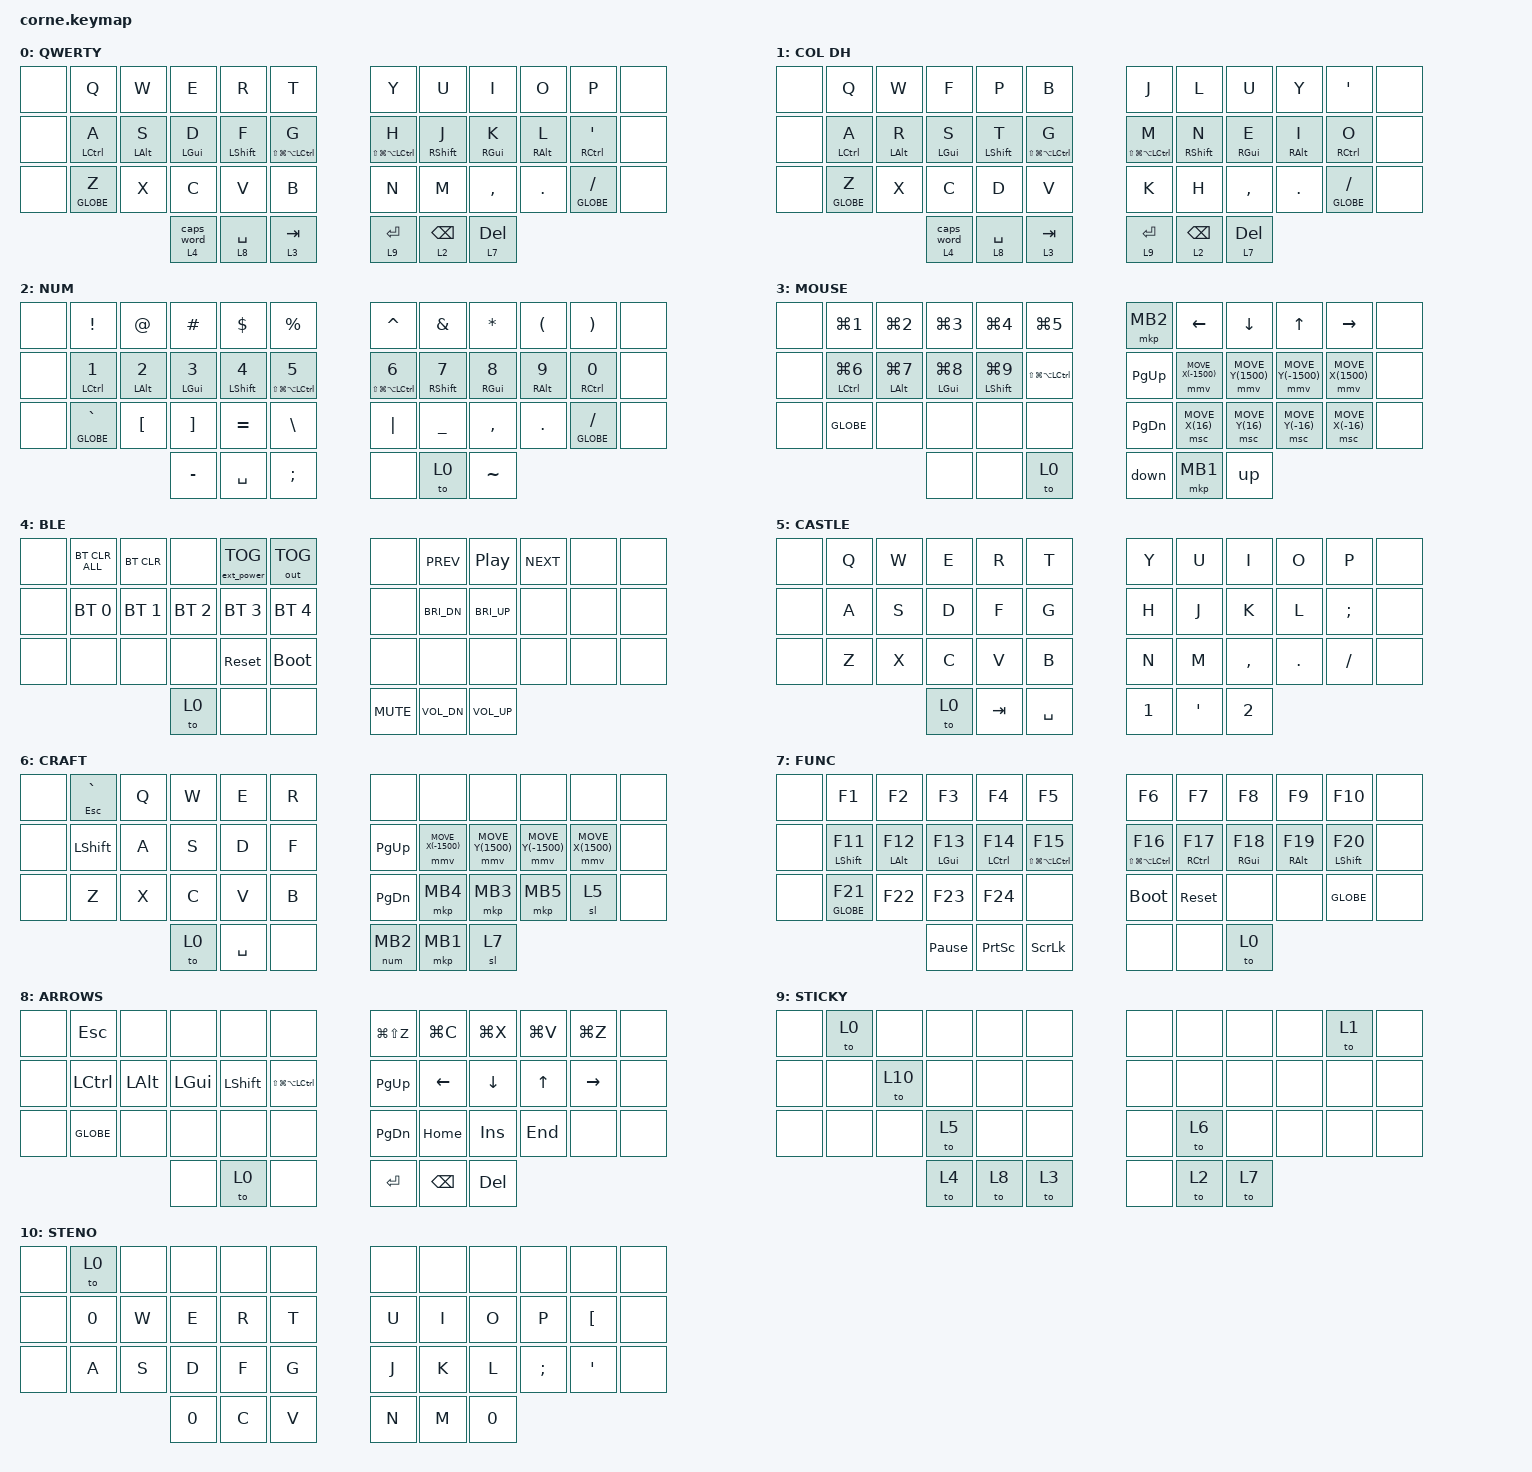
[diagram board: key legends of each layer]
//sudo west build -p -d build/left -b nice_nano_v2 -- -DSHIELD="corne_left nice_view_adapter nice_view" -DZMK_CONFIG=/Users/ameer/keyboard/zmk-config/config
//sudo west build -p -d build/right -b nice_nano_v2 -- -DSHIELD="corne_right nice_view_adapter nice_view" -DZMK_CONFIG=/Users/ameer/keyboard/zmk-config/config

#include <behaviors.dtsi>
#include <dt-bindings/zmk/keys.h>
#include <dt-bindings/zmk/mouse.h>
#include <behaviors/mouse_keys.dtsi>
#include <zephyr/dt-bindings/input/input-event-codes.h>
#include <dt-bindings/zmk/outputs.h>
#include <dt-bindings/zmk/bt.h>
#include <dt-bindings/zmk/ext_power.h>

&caps_word {
    continue-list = <UNDERSCORE MINUS BSPC DOT COMMA>;
};
&sl {
    release-after-ms = <1000>;
};
/ {
behaviors {    
        msc: mouse_scroll {
            compatible = "zmk,behavior-input-two-axis";
            #binding-cells = <1>;
            x-input-code = <INPUT_REL_HWHEEL>;
            y-input-code = <INPUT_REL_WHEEL>;
            time-to-max-speed-ms = <300>;
            acceleration-exponent = <0>;
        };
        msc_input_listener {
            compatible = "zmk,input-listener";
            device = <&msc>;
         };
        mmv: mouse_move {
            compatible = "zmk,behavior-input-two-axis";
            #binding-cells = <1>;
            x-input-code = <INPUT_REL_X>;
            y-input-code = <INPUT_REL_Y>;
            time-to-max-speed-ms = <300>;
            acceleration-exponent = <1>;
        };
        mmv_input_listener {
            compatible = "zmk,input-listener";
            device = <&mmv>;
        };
        mouse_key_press {
            compatible = "zmk,behavior-mouse-key-press";
            #binding-cells = <1>;
        };
        mkp_input_listener {
            compatible = "zmk,input-listener";
            device = <&mkp>;
        };
            hrl: homerow_mods_left {
            compatible = "zmk,behavior-hold-tap";
            #binding-cells = <2>;
            flavor = "balanced";
            tapping-term-ms = <300>;
            bindings = <&kp>, <&kp>;
            //hold-trigger-key-positions = <6 7 8 9 10 18 19 20 21 22 30 31 32 33 34 39 40 41>;
        };
        hrr: homerow_mods_right {
            compatible = "zmk,behavior-hold-tap";
            #binding-cells = <2>;
            flavor = "balanced";
            tapping-term-ms = <300>;
            bindings = <&kp>, <&kp>;
            //hold-trigger-key-positions = <1 2 3 4 5 13 14 15 16 17 25 26 27 28 29 38 37 36>;
        };  
         monumkphp: mo_numerals_kphp {
            compatible = "zmk,behavior-hold-tap";
            #binding-cells = <2>;
            flavor = "hold-preferred";
            tapping-term-ms = <200>;
            bindings = <&num>, <&mkp>;
        }; 
        down: down {
            compatible = "zmk,behavior-mod-morph";
            #binding-cells = <0>;
            bindings = <&kp DOWN>, <&msc MOVE_Y(16)>;
            mods = <(MOD_LCTL)>;
        };
        up: up {
            compatible = "zmk,behavior-mod-morph";
            #binding-cells = <0>;
            bindings = <&kp UP>, <&msc MOVE_Y(-16)>;
            mods = <(MOD_LCTL)>;
        };
         mocapsword: mo_caps_word {
            compatible = "zmk,behavior-hold-tap";
            #binding-cells = <2>;
            flavor = "hold-preferred"; 
            tapping-term-ms = <150>;
            bindings = <&mo>, <&caps_word>;
        };
         mokphp: mokphp {
            compatible = "zmk,behavior-hold-tap";
            #binding-cells = <2>;
            flavor = "hold-preferred"; 
            tapping-term-ms = <150>;
            bindings = <&mo>, <&kp>;
        };  
         mokptp: mokptp {
            compatible = "zmk,behavior-hold-tap";
            #binding-cells = <2>;
            flavor = "tap-preferred";
            tapping-term-ms = <150>;
            bindings = <&mo>, <&kp>;
        };  
         mokpb: mokpb {
            compatible = "zmk,behavior-hold-tap";
            #binding-cells = <2>;
            flavor = "balanced";
            tapping-term-ms = <200>;
            bindings = <&mo>, <&kp>;
        }; 
    macros {
        num: numerals {
            compatible = "zmk,behavior-macro";
            #binding-cells = <0>;
            bindings
                = <&macro_press &to 2>
                , <&macro_pause_for_release>
                , <&macro_press &to 6>;
         };
    };
    keymap {
        compatible = "zmk,keymap";
        0 {
            display-name = "QWERTY"; // 8 character max
bindings = <
&none &kp Q &kp W &kp E &kp R &kp T                                                &kp Y &kp U &kp I &kp O &kp P &none 
&none &hrl LCTRL A &hrl LALT S &hrl LGUI D &hrl LSHIFT F &hrl LS(LG(LA(LCTRL))) G       &hrr LS(LG(LA(LCTRL))) H &hrr RSHIFT J &hrr RGUI K &hrr RALT L &hrr RCTRL APOS &none 
&none &hrl GLOBE Z &kp X &kp C &kp V &kp B                                          &kp N &kp M &kp COMMA &kp DOT &hrr GLOBE SLASH &none
&mocapsword 4 0 &mokpb 8 SPACE &mokphp 3 TAB                                         &mokptp 9 RETURN &mokphp 2 BSPC &mokptp 7 DEL
              >;
        };
        1 {
            display-name = "COL DH";
            bindings = <
&none  &kp Q  &kp W  &kp F     &kp P      &kp B     &kp J     &kp L     &kp U      &kp Y    &kp APOS   &none
&none &hrl LCTRL A &hrl LALT R &hrl LGUI S &hrl LSHIFT T &hrl LS(LG(LA(LCTRL))) G       &hrr LS(LG(LA(LCTRL))) M &hrr RSHIFT N &hrr RGUI E &hrr RALT I &hrr RCTRL O &none 
&none  &hrl GLOBE Z  &kp X  &kp C   &kp D      &kp V     &kp K     &kp H     &kp COMMA  &kp DOT  &hrr GLOBE SLASH  &none
&mocapsword 4 0 &mokpb 8 SPACE &mokphp 3 TAB                                         &mokptp 9 RETURN &mokphp 2 BSPC &mokptp 7 DEL
            >;
        };
        2 {
            display-name = "NUM";
bindings = <
&none &kp EXCLAMATION &kp AT &kp HASH &kp DOLLAR &kp PERCENT                                                                   &kp CARET &kp AMPS &kp STAR &kp LPAR &kp RPAR &none 
&none &hrl LCTRL N1 &hrl LALT N2 &hrl LGUI N3 &hrl LSHIFT N4 &hrl LS(LG(LA(LCTRL))) N5           &hrr LS(LG(LA(LCTRL))) N6 &hrr RSHIFT N7 &hrr RGUI N8 &hrr RALT N9 &hrr RCTRL N0 &none 
&none &hrl GLOBE GRAVE &kp LBKT &kp RBKT &kp EQUAL &kp BSLH                                                               &kp PIPE &kp UNDER &kp COMMA  &kp DOT  &hrr GLOBE SLASH  &none
&kp MINUS &kp SPACE &kp SEMI                                                                                               &none &to 0 &kp TILDE
              >;
        };  
        3 {
            display-name = "MOUSE";
bindings = <
&none &kp LG(N1) &kp LG(N2) &kp LG(N3) &kp LG(N4) &kp LG(N5)                                &mkp MB2 &kp LEFT &kp DOWN &kp UP &kp RIGHT &none 
&none &hrl LCTRL LG(N6) &hrl LALT LG(N7) &hrl LGUI LG(N8) &hrl LSHIFT LG(N9) &kp LS(LG(LA(LCTRL))) &kp PG_UP &mmv MOVE_X(-1500) &mmv MOVE_Y(1500) &mmv MOVE_Y(-1500) &mmv MOVE_X(1500) &none
&none &kp GLOBE &none &none &none &none                                  &kp PG_DN &msc MOVE_X(16) &msc MOVE_Y(16) &msc MOVE_Y(-16) &msc MOVE_X(-16) &none 
&none &none &to 0                                               &down &mkp MB1 &up
              >;
        };
        4 {
            display-name = "BLE";
bindings = <
&none &bt BT_CLR_ALL &bt BT_CLR &none &ext_power EP_TOG &out OUT_TOG                               &none &kp C_PREV &kp C_PP &kp C_NEXT &none &none 
&none &bt BT_SEL 0 &bt BT_SEL 1 &bt BT_SEL 2 &bt BT_SEL 3 &bt BT_SEL 4                             &none &kp C_BRI_DN &kp C_BRI_UP &none &none &none 
&none &none &none &none &sys_reset &bootloader                                               &none &none &none &none &none &none 
&to 0 &none &none                                                                                  &kp C_MUTE &kp C_VOL_DN &kp C_VOL_UP  
              >;
        };
        5 {
            display-name = "CASTLE"; // 8 character max
bindings = <
&none &kp Q &kp W &kp E &kp R &kp T               &kp Y &kp U &kp I &kp O &kp P &none 
&none &kp A &kp S &kp D &kp F &kp G               &kp H &kp J &kp K &kp L &kp SEMI &none 
&none &kp Z &kp X &kp C &kp V &kp B               &kp N &kp M &kp COMMA &kp DOT &kp SLASH &none 
&to 0 &kp TAB &kp SPACE                           &kp N1 &kp APOS &kp N2
              >;
        };
        6 {
            display-name = "CRAFT";
bindings = <
&none &mt ESC GRAVE &kp Q &kp W &kp E &kp R                              &none &none &none &none &none &none 
&none &kp LSHIFT &kp A &kp S &kp D &kp F                         &kp PG_UP &mmv MOVE_X(-1500) &mmv MOVE_Y(1500) &mmv MOVE_Y(-1500) &mmv MOVE_X(1500) &none 
&none &kp Z &kp X &kp C &kp V &kp B                               &kp PG_DN &mkp MB4 &mkp MB3 &mkp MB5 &sl 5 &none 
&to 0 &kp SPACE &none                                          &monumkphp 0 MB2 &mkp MB1 &sl 7
              >;  
        };
        7 {
            display-name = "FUNC";
bindings = <
&none &kp F1 &kp F2 &kp F3 &kp F4 &kp F5                          &kp F6 &kp F7 &kp F8 &kp F9 &kp F10 &none 
&none &hrl LSHIFT F11 &hrl LALT F12 &hrl LGUI F13 &hrl LCTRL F14 &hrl LS(LG(LA(LCTRL))) F15 &hrr LS(LG(LA(LCTRL))) F16 &hrr RCTRL F17 &hrr RGUI F18 &hrr RALT F19 &hrr LSHIFT F20 &none 
&none &hrl GLOBE F21 &kp F22 &kp F23 &kp F24 &none                &bootloader &sys_reset &none &none &kp GLOBE &none 
      &kp PAUSE_BREAK &kp PSCRN &kp SCROLLLOCK                                          &none &none &to 0
              >;
            };
        8 {
            display-name = "ARROWS";
bindings = <
&none &kp ESC &none &none &none &none                             &kp LG(LS(Z)) &kp LG(C) &kp LG(X) &kp LG(V) &kp LG(Z) &none 
&none &kp LCTRL &kp LALT &kp LGUI &kp LSHIFT &kp LS(LG(LA(LCTRL)))  &kp PG_UP &kp LEFT &kp DOWN &kp UP &kp RIGHT &none 
&none &kp GLOBE &none &none &none &none               &kp PG_DN &kp HOME &kp INS &kp END &none &none 
      &none &to 0 &none                                          &kp RETURN &kp BSPC &kp DEL
              >;
            };
        9 {
            display-name = "STICKY";
bindings = <
&none &to 0 &none &none &none &none                             &none &none &none &none &to 1 &none
&none &none &to 10 &none &none &none                             &none &none &none &none &none &none
&none &none &none &to 5 &none &none                             &none &to 6 &none &none &none &none
      &to 4 &to 8 &to 3                                          &none &to 2 &to 7
              >;
            };
        10 {
            display-name = "STENO";
bindings = <
&none &to 0 &none &none &none &none                              &none &none &none &none &none &none
&none &kp N0 &kp W &kp E &kp R &kp T                            &kp U &kp I &kp O &kp P &kp LBKT &none
&none &kp A &kp S &kp D &kp F &kp G                             &kp J &kp K &kp L &kp SEMI &kp APOS &none
      &kp N0 &kp C &kp V                                          &kp N &kp M &kp N0
              >;
            };
        };
    };
};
